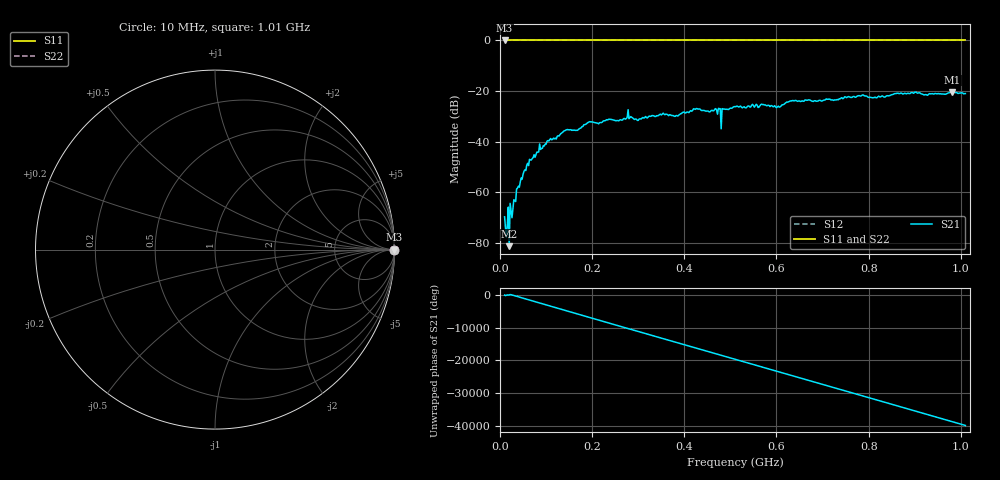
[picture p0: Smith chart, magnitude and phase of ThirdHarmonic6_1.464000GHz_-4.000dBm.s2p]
! 8/16/2025 5:01:53 PM
! C:\ANRITSUVNA\TEMP\TEMP.S2P
! CHANNEL.1
! TR.MEASUREMENT
! RAW.DATA
! RF.CORRECTION.OFF
! AVERAGING.OFF
! IF.BANDWIDTH: 5KHZ
! SWEEPTYPE:  FREQ.SWEEP(Linear)
! Reference Plane Port Info
! PORT:  PORT1  PORT2
! DISTANCE:  0  m  0  m
! TIME:  0  s  0  s
! PHASE.OFFSET:  0  deg.  0  deg.
! LOSS:  0  dB  0  dB
! REF.LOSS:  0  dB  0  dB
! REF.FREQ:  0  Hz  0  Hz
! Power Info
! POWER:  -20  dBm  -20  dBm
! EFF.POWER:  -20  dBm  -20  dBm
! SOURCE.ATTEN:  0  dB  0  dB
! TEST.ATTEN:  0  dB  0  dB
# GHZ S RI R 50.0
! FREQ.GHZ  S11RE  S11IM  S21RE  S21IM  S12RE  S12IM  S22RE  S22IM
!; PortSelection: Port_12
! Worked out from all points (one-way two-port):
!   501 points, 10 MHz to 1.01 GHz, reference 50 ohm
!   highest |S21| = -20.36 dB at 982 MHz (marker M1); lowest = -81.2 dB at 20 MHz (marker M2)
!   lowest |S11| = 0.0 dB at 10 MHz (marker M3)
!   |S11| at or under -10 dB: nowhere
!   |S22| runs from 0.0 to 0.0 dB; largest |S21 - S12| = 1.1
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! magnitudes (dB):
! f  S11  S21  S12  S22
! 10 MHz  0.0  -69.6  0.0  0.0
! 14 MHz  0.0  -77.7  0.0  0.0
! 16 MHz  0.0  -72.6  0.0  0.0
! 20 MHz  0.0  -81.2  0.0  0.0
! 24 MHz  0.0  -67.3  0.0  0.0
! 26 MHz  0.0  -70.0  0.0  0.0
! 30 MHz  0.0  -62.9  0.0  0.0
! 40 MHz  0.0  -57.5  0.0  0.0
! 56 MHz  0.0  -51.4  0.0  0.0
! 82 MHz  0.0  -44.1  0.0  0.0
! 142 MHz  0.0  -35.5  0.0  0.0
! 178 MHz  0.0  -34.0  0.0  0.0
! 280 MHz  0.0  -30.9  0.0  0.0
! 344 MHz  0.0  -29.6  0.0  0.0
! 382 MHz  0.0  -29.7  0.0  0.0
! 424 MHz  0.0  -27.2  0.0  0.0
! 476 MHz  0.0  -26.9  0.0  0.0
! 510 MHz  0.0  -26.1  0.0  0.0
! 678 MHz  0.0  -24.0  0.0  0.0
! 844 MHz  0.0  -21.8  0.0  0.0
! 982 MHz  0.0  -20.4  0.0  0.0
! 1.01 GHz  0.0  -21.0  0.0  0.0
